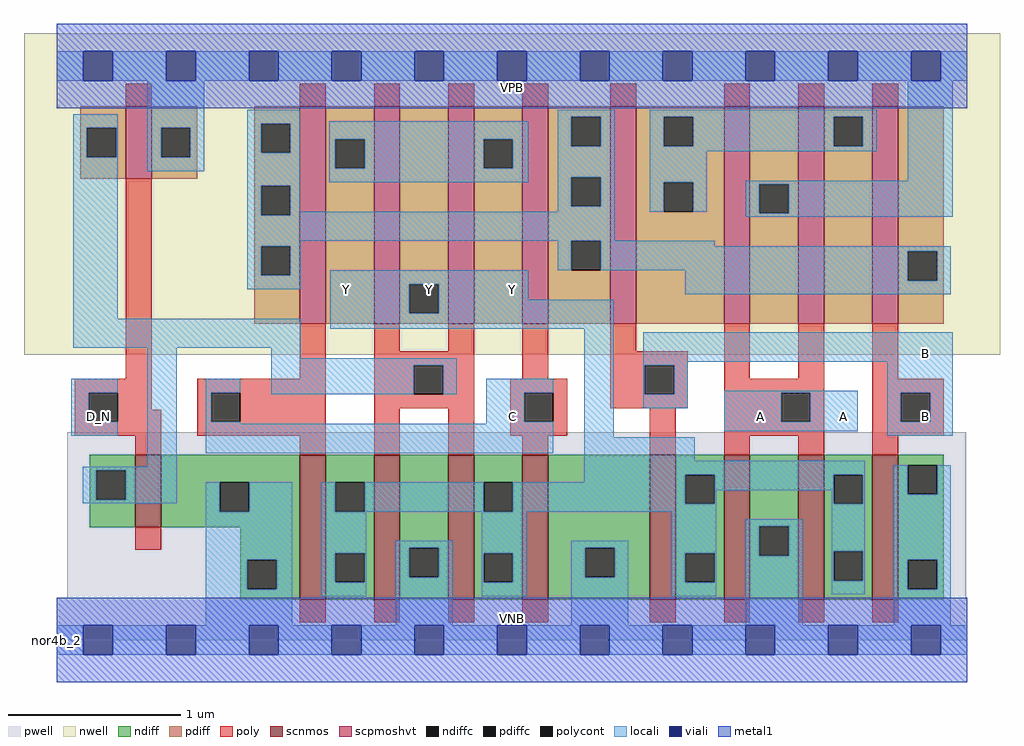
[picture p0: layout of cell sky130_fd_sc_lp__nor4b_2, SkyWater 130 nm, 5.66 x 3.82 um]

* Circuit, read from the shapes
.subckt sky130_fd_sc_lp__nor4b_2 A B C D_N VGND VNB VPB VPWR Y
XM1 VGND D_N n1 VNB sky130_fd_pr__nfet_01v8 w=0.42 l=0.15
XM2 Y C VGND VNB sky130_fd_pr__nfet_01v8 w=0.84 l=0.15 m=2
XM3 VGND n1 Y VNB sky130_fd_pr__nfet_01v8 w=0.84 l=0.15 m=2
XM4 Y B VGND VNB sky130_fd_pr__nfet_01v8 w=0.84 l=0.15 m=2
XM5 VGND A Y VNB sky130_fd_pr__nfet_01v8 w=0.84 l=0.15 m=2
XM6 VPWR D_N n1 VPB sky130_fd_pr__pfet_01v8_hvt w=0.42 l=0.15
XM7 n2 C n3 VPB sky130_fd_pr__pfet_01v8_hvt w=1.26 l=0.15 m=2
XM8 Y n1 n2 VPB sky130_fd_pr__pfet_01v8_hvt w=1.26 l=0.15 m=2
XM9 n4 B n3 VPB sky130_fd_pr__pfet_01v8_hvt w=1.26 l=0.15 m=2
XM10 VPWR A n4 VPB sky130_fd_pr__pfet_01v8_hvt w=1.26 l=0.15 m=2
.ends

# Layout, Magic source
magic
tech sky130A
magscale 1 2
<< nwell >>
rect -38 331 1094 704
<< pwell >>
rect 12 49 1055 241
rect 0 0 1056 49
<< scnmos >>
rect 91 131 121 215
rect 282 47 312 215
rect 368 47 398 215
rect 454 47 484 215
rect 540 47 570 215
rect 688 47 718 215
rect 774 47 804 215
rect 860 47 890 215
rect 946 47 976 215
<< scpmoshvt >>
rect 80 535 110 619
rect 282 367 312 619
rect 368 367 398 619
rect 454 367 484 619
rect 540 367 570 619
rect 642 367 672 619
rect 774 367 804 619
rect 860 367 890 619
rect 946 367 976 619
<< ndiff >>
rect 38 197 91 215
rect 38 163 46 197
rect 80 163 91 197
rect 38 131 91 163
rect 121 183 282 215
rect 121 149 189 183
rect 223 149 282 183
rect 121 131 282 149
rect 213 93 282 131
rect 213 59 221 93
rect 255 59 282 93
rect 213 47 282 59
rect 312 183 368 215
rect 312 149 323 183
rect 357 149 368 183
rect 312 101 368 149
rect 312 67 323 101
rect 357 67 368 101
rect 312 47 368 67
rect 398 107 454 215
rect 398 73 409 107
rect 443 73 454 107
rect 398 47 454 73
rect 484 183 540 215
rect 484 149 495 183
rect 529 149 540 183
rect 484 101 540 149
rect 484 67 495 101
rect 529 67 540 101
rect 484 47 540 67
rect 570 107 688 215
rect 570 73 613 107
rect 647 73 688 107
rect 570 47 688 73
rect 718 192 774 215
rect 718 158 729 192
rect 763 158 774 192
rect 718 101 774 158
rect 718 67 729 101
rect 763 67 774 101
rect 718 47 774 67
rect 804 132 860 215
rect 804 98 815 132
rect 849 98 860 132
rect 804 47 860 98
rect 890 192 946 215
rect 890 158 901 192
rect 935 158 946 192
rect 890 103 946 158
rect 890 69 901 103
rect 935 69 946 103
rect 890 47 946 69
rect 976 203 1029 215
rect 976 169 987 203
rect 1021 169 1029 203
rect 976 93 1029 169
rect 976 59 987 93
rect 1021 59 1029 93
rect 976 47 1029 59
<< pdiff >>
rect 27 594 80 619
rect 27 560 35 594
rect 69 560 80 594
rect 27 535 80 560
rect 110 594 163 619
rect 110 560 121 594
rect 155 560 163 594
rect 110 535 163 560
rect 229 599 282 619
rect 229 565 237 599
rect 271 565 282 599
rect 229 527 282 565
rect 229 493 237 527
rect 271 493 282 527
rect 229 457 282 493
rect 229 423 237 457
rect 271 423 282 457
rect 229 367 282 423
rect 312 581 368 619
rect 312 547 323 581
rect 357 547 368 581
rect 312 367 368 547
rect 398 413 454 619
rect 398 379 409 413
rect 443 379 454 413
rect 398 367 454 379
rect 484 581 540 619
rect 484 547 495 581
rect 529 547 540 581
rect 484 367 540 547
rect 570 607 642 619
rect 570 573 597 607
rect 631 573 642 607
rect 570 537 642 573
rect 570 503 597 537
rect 631 503 642 537
rect 570 463 642 503
rect 570 429 597 463
rect 631 429 642 463
rect 570 367 642 429
rect 672 607 774 619
rect 672 573 704 607
rect 738 573 774 607
rect 672 531 774 573
rect 672 497 704 531
rect 738 497 774 531
rect 672 367 774 497
rect 804 529 860 619
rect 804 495 815 529
rect 849 495 860 529
rect 804 367 860 495
rect 890 607 946 619
rect 890 573 901 607
rect 935 573 946 607
rect 890 367 946 573
rect 976 451 1029 619
rect 976 417 987 451
rect 1021 417 1029 451
rect 976 367 1029 417
<< ndiffc >>
rect 46 163 80 197
rect 189 149 223 183
rect 221 59 255 93
rect 323 149 357 183
rect 323 67 357 101
rect 409 73 443 107
rect 495 149 529 183
rect 495 67 529 101
rect 613 73 647 107
rect 729 158 763 192
rect 729 67 763 101
rect 815 98 849 132
rect 901 158 935 192
rect 901 69 935 103
rect 987 169 1021 203
rect 987 59 1021 93
<< pdiffc >>
rect 35 560 69 594
rect 121 560 155 594
rect 237 565 271 599
rect 237 493 271 527
rect 237 423 271 457
rect 323 547 357 581
rect 409 379 443 413
rect 495 547 529 581
rect 597 573 631 607
rect 597 503 631 537
rect 597 429 631 463
rect 704 573 738 607
rect 704 497 738 531
rect 815 495 849 529
rect 901 573 935 607
rect 987 417 1021 451
<< poly >>
rect 80 619 110 645
rect 282 619 312 645
rect 368 619 398 645
rect 454 619 484 645
rect 540 619 570 645
rect 642 619 672 645
rect 774 619 804 645
rect 860 619 890 645
rect 946 619 976 645
rect 80 303 110 535
rect 282 303 312 367
rect 21 287 110 303
rect 21 253 37 287
rect 71 267 110 287
rect 163 287 312 303
rect 71 253 121 267
rect 21 237 121 253
rect 163 253 179 287
rect 213 253 312 287
rect 163 237 312 253
rect 91 215 121 237
rect 282 215 312 237
rect 368 335 398 367
rect 454 335 484 367
rect 368 319 484 335
rect 368 285 414 319
rect 448 285 484 319
rect 540 303 570 367
rect 642 335 672 367
rect 642 319 732 335
rect 368 269 484 285
rect 368 215 398 269
rect 454 215 484 269
rect 526 287 592 303
rect 526 253 542 287
rect 576 253 592 287
rect 642 285 682 319
rect 716 285 732 319
rect 642 269 732 285
rect 774 303 804 367
rect 860 303 890 367
rect 774 287 890 303
rect 526 237 592 253
rect 540 215 570 237
rect 688 215 718 269
rect 774 253 840 287
rect 874 253 890 287
rect 774 237 890 253
rect 774 215 804 237
rect 860 215 890 237
rect 946 303 976 367
rect 946 287 1029 303
rect 946 253 979 287
rect 1013 253 1029 287
rect 946 237 1029 253
rect 946 215 976 237
rect 91 105 121 131
rect 282 21 312 47
rect 368 21 398 47
rect 454 21 484 47
rect 540 21 570 47
rect 688 21 718 47
rect 774 21 804 47
rect 860 21 890 47
rect 946 21 976 47
<< polycont >>
rect 37 253 71 287
rect 179 253 213 287
rect 414 285 448 319
rect 542 253 576 287
rect 682 285 716 319
rect 840 253 874 287
rect 979 253 1013 287
<< locali >>
rect 0 649 31 683
rect 65 649 127 683
rect 161 649 223 683
rect 257 649 319 683
rect 353 649 415 683
rect 449 649 511 683
rect 545 649 607 683
rect 641 649 703 683
rect 737 649 799 683
rect 833 649 895 683
rect 929 649 991 683
rect 1025 649 1056 683
rect 19 594 71 610
rect 19 560 35 594
rect 69 560 71 594
rect 19 373 71 560
rect 105 594 171 649
rect 105 560 121 594
rect 155 560 171 594
rect 105 544 171 560
rect 221 599 282 615
rect 581 607 647 615
rect 221 565 237 599
rect 271 565 282 599
rect 221 527 282 565
rect 316 581 547 602
rect 316 547 323 581
rect 357 547 495 581
rect 529 547 547 581
rect 316 531 547 547
rect 581 573 597 607
rect 631 573 647 607
rect 581 537 647 573
rect 221 493 237 527
rect 271 497 282 527
rect 581 503 597 537
rect 631 503 647 537
rect 581 497 647 503
rect 688 607 951 615
rect 688 573 704 607
rect 738 573 901 607
rect 935 573 951 607
rect 688 567 951 573
rect 688 531 754 567
rect 987 533 1039 649
rect 688 497 704 531
rect 738 497 754 531
rect 799 529 1039 533
rect 271 493 647 497
rect 221 463 647 493
rect 799 495 815 529
rect 849 495 1039 529
rect 799 491 1039 495
rect 221 457 283 463
rect 221 423 237 457
rect 271 423 283 457
rect 581 429 597 463
rect 631 457 763 463
rect 631 451 1037 457
rect 631 429 987 451
rect 221 407 283 423
rect 317 413 547 429
rect 317 379 409 413
rect 443 395 547 413
rect 729 417 987 429
rect 1021 417 1037 451
rect 729 401 1037 417
rect 443 379 646 395
rect 19 339 283 373
rect 317 361 646 379
rect 17 287 71 303
rect 17 253 37 287
rect 17 237 71 253
rect 105 201 139 339
rect 249 327 283 339
rect 249 319 464 327
rect 173 287 213 303
rect 173 253 179 287
rect 249 285 414 319
rect 448 285 464 319
rect 498 287 576 303
rect 173 251 213 253
rect 498 253 542 287
rect 498 251 576 253
rect 173 217 576 251
rect 612 235 646 361
rect 680 323 1039 357
rect 680 319 732 323
rect 680 285 682 319
rect 716 285 732 319
rect 680 269 732 285
rect 774 287 929 289
rect 774 253 840 287
rect 874 253 929 287
rect 774 242 929 253
rect 963 287 1039 323
rect 963 253 979 287
rect 1013 253 1039 287
rect 963 237 1039 253
rect 30 197 139 201
rect 30 163 46 197
rect 80 163 139 197
rect 612 208 740 235
rect 612 192 937 208
rect 612 183 729 192
rect 30 159 139 163
rect 173 149 189 183
rect 223 149 273 183
rect 173 93 273 149
rect 173 59 221 93
rect 255 59 273 93
rect 173 17 273 59
rect 307 149 323 183
rect 357 149 495 183
rect 529 158 729 183
rect 763 174 901 192
rect 763 158 765 174
rect 529 149 765 158
rect 307 101 359 149
rect 307 67 323 101
rect 357 67 359 101
rect 307 51 359 67
rect 393 107 459 115
rect 393 73 409 107
rect 443 73 459 107
rect 393 17 459 73
rect 493 101 545 149
rect 493 67 495 101
rect 529 67 545 101
rect 493 51 545 67
rect 597 107 663 115
rect 597 73 613 107
rect 647 73 663 107
rect 597 17 663 73
rect 713 101 765 149
rect 899 158 901 174
rect 935 158 937 192
rect 713 67 729 101
rect 763 67 765 101
rect 713 51 765 67
rect 799 132 865 140
rect 799 98 815 132
rect 849 98 865 132
rect 799 17 865 98
rect 899 103 937 158
rect 899 69 901 103
rect 935 69 937 103
rect 899 53 937 69
rect 971 169 987 203
rect 1021 169 1037 203
rect 971 93 1037 169
rect 971 59 987 93
rect 1021 59 1037 93
rect 971 17 1037 59
rect 0 -17 31 17
rect 65 -17 127 17
rect 161 -17 223 17
rect 257 -17 319 17
rect 353 -17 415 17
rect 449 -17 511 17
rect 545 -17 607 17
rect 641 -17 703 17
rect 737 -17 799 17
rect 833 -17 895 17
rect 929 -17 991 17
rect 1025 -17 1056 17
<< viali >>
rect 31 649 65 683
rect 127 649 161 683
rect 223 649 257 683
rect 319 649 353 683
rect 415 649 449 683
rect 511 649 545 683
rect 607 649 641 683
rect 703 649 737 683
rect 799 649 833 683
rect 895 649 929 683
rect 991 649 1025 683
rect 31 -17 65 17
rect 127 -17 161 17
rect 223 -17 257 17
rect 319 -17 353 17
rect 415 -17 449 17
rect 511 -17 545 17
rect 607 -17 641 17
rect 703 -17 737 17
rect 799 -17 833 17
rect 895 -17 929 17
rect 991 -17 1025 17
<< metal1 >>
rect 0 683 1056 715
rect 0 649 31 683
rect 65 649 127 683
rect 161 649 223 683
rect 257 649 319 683
rect 353 649 415 683
rect 449 649 511 683
rect 545 649 607 683
rect 641 649 703 683
rect 737 649 799 683
rect 833 649 895 683
rect 929 649 991 683
rect 1025 649 1056 683
rect 0 617 1056 649
rect 0 17 1056 49
rect 0 -17 31 17
rect 65 -17 127 17
rect 161 -17 223 17
rect 257 -17 319 17
rect 353 -17 415 17
rect 449 -17 511 17
rect 545 -17 607 17
rect 641 -17 703 17
rect 737 -17 799 17
rect 833 -17 895 17
rect 929 -17 991 17
rect 1025 -17 1056 17
rect 0 -49 1056 -17
<< labels >>
flabel pwell s 0 0 1056 49 0 FreeSans 200 0 0 0 VNB
port 6 nsew ground bidirectional
flabel nwell s 0 617 1056 666 0 FreeSans 200 0 0 0 VPB
port 7 nsew power bidirectional
rlabel comment s 0 0 0 0 4 nor4b_2
flabel metal1 s 0 0 1056 49 0 FreeSans 340 0 0 0 VGND
port 5 nsew ground bidirectional
flabel metal1 s 0 617 1056 666 0 FreeSans 340 0 0 0 VPWR
port 8 nsew power bidirectional
flabel locali s 799 242 833 276 0 FreeSans 340 0 0 0 A
port 1 nsew signal input
flabel locali s 895 242 929 276 0 FreeSans 340 0 0 0 A
port 1 nsew signal input
flabel locali s 31 242 65 276 0 FreeSans 340 0 0 0 D_N
port 4 nsew signal input
flabel locali s 991 242 1025 276 0 FreeSans 340 0 0 0 B
port 2 nsew signal input
flabel locali s 991 316 1025 350 0 FreeSans 340 0 0 0 B
port 2 nsew signal input
flabel locali s 511 242 545 276 0 FreeSans 340 0 0 0 C
port 3 nsew signal input
flabel locali s 319 390 353 424 0 FreeSans 340 0 0 0 Y
port 9 nsew signal output
flabel locali s 415 390 449 424 0 FreeSans 340 0 0 0 Y
port 9 nsew signal output
flabel locali s 511 390 545 424 0 FreeSans 340 0 0 0 Y
port 9 nsew signal output
<< properties >>
string LEFsite unit
string LEFclass CORE
string FIXED_BBOX 0 0 1056 666
string GDS_FILE $PDKPATH/libs.ref/sky130_fd_sc_lp/gds/sky130_fd_sc_lp.gds
string LEFsymmetry X Y R90
string GDS_END 1793290
string GDS_START 1784524
<< end >>
